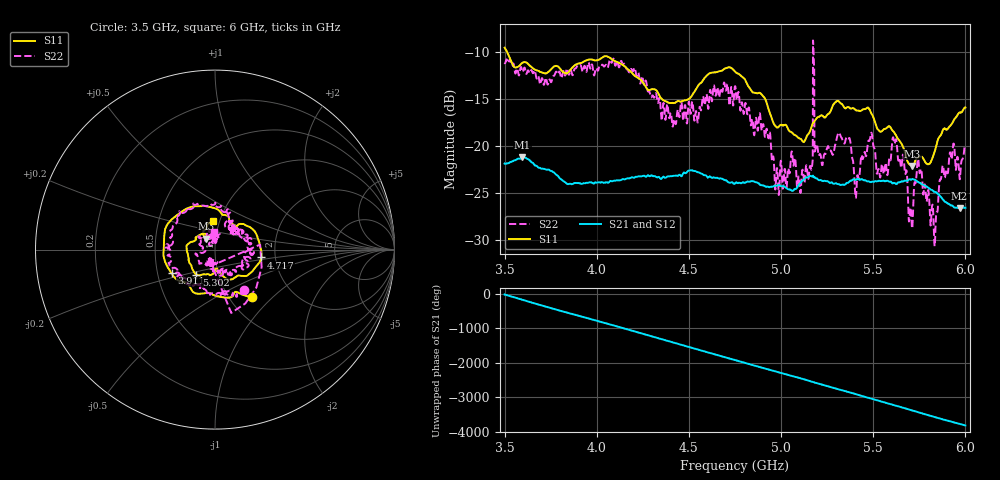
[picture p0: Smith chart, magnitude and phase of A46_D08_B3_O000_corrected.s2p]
! Created with skrf 1.9.0 (http://scikit-rf.org).
# Hz S RI R 50.0
!freq ReS11 ImS11 ReS21 ImS21 ReS12 ImS12 ReS22 ImS22
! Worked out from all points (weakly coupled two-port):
!   1601 points, 3.5 GHz to 6 GHz, reference 50 ohm
!   highest |S21| = -21.20 dB at 3.595 GHz (marker M1); lowest = -26.6 dB at 5.969 GHz (marker M2)
!   lowest |S11| = -22.1 dB at 5.713 GHz (marker M3), VSWR 1.17, Z = 45 + j5.52 ohm
!   |S11| at or under -10 dB: 3.514 GHz to end of sweep
!   |S22| runs from -30.7 to -8.8 dB; largest |S21 - S12| = 0.001
!   S11 on the Smith chart (normalised r, x): 3.5 GHz: 1.27, -0.75; 3.911 GHz: 0.59, -0.17; 4.717 GHz: 1.69, -0.16; 5.302 GHz: 0.78, -0.22; 6 GHz: 0.93, +0.31
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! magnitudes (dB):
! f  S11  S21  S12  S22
! 3.5 GHz  -9.5  -21.9  -21.9  -11.1
! 3.595 GHz  -11.2  -21.2  -21.2  -12.0
! 3.911 GHz  -11.2  -24.0  -24.0  -11.4
! 3.917 GHz  -11.2  -24.0  -24.0  -11.7
! 4.334 GHz  -14.4  -23.3  -23.2  -15.3
! 4.717 GHz  -11.6  -23.9  -23.9  -15.2
! 4.75 GHz  -12.1  -24.0  -23.9  -13.6
! 4.931 GHz  -16.0  -24.4  -24.3  -19.2
! 4.978 GHz  -18.0  -24.2  -24.2  -22.4
! 5.156 GHz  -18.5  -23.2  -23.1  -22.2
! 5.167 GHz  -17.8  -23.2  -23.2  -22.3
! 5.302 GHz  -15.2  -24.0  -24.0  -19.2
! 5.409 GHz  -16.2  -23.5  -23.5  -24.6
! 5.484 GHz  -16.3  -23.8  -23.8  -19.0
! 5.584 GHz  -17.9  -23.8  -23.7  -21.7
! 5.617 GHz  -18.7  -23.9  -23.9  -19.7
! 5.713 GHz  -22.1  -23.5  -23.5  -28.7
! 5.75 GHz  -21.2  -23.9  -23.9  -22.7
! 5.838 GHz  -20.3  -24.9  -24.9  -28.7
! 5.87 GHz  -18.7  -25.5  -25.5  -23.2
! 5.969 GHz  -16.4  -26.6  -26.6  -23.5
! 6 GHz  -15.9  -26.6  -26.5  -20.0
